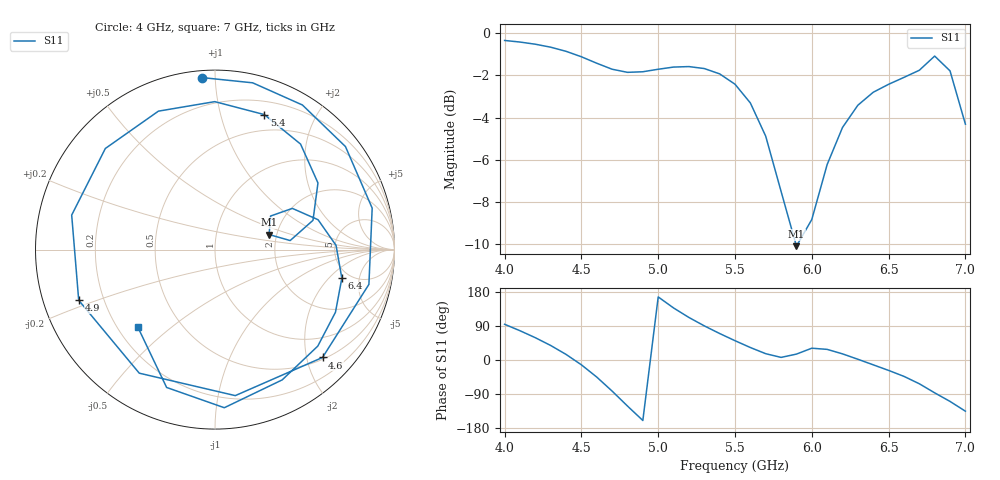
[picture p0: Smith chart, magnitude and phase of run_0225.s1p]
! Touchstone file exported from HFSS 2024.2.0
!  File:  C:/Users/wsak9/Desktop/Sim Fast/Widenad Patch/WP_AI_V1_sweep.aedt
!  Generated:  12:23:43 AM Oct 14, 2026
!  Design:  A1_model
!  Project:  WP_AI_V1_sweep
!  Setup:  Setup1
!  Solution:  Sweep
! Variables:
!  Air_gap = 2.88mm
!  Curve_Amp1 = 2.74
!  Curve_len1 = 1
!  Curve_pos = 10.05mm
!  Extra = 4.66mm
!  H_sub = 0.79mm
!  L_Patch = 16.1mm
!  L_Patch1 = 14.86mm
!  Sx = 4.8mm
!  Sy = 4.98mm
!  WS = 0.85mm
!  W_Patch = 13.72mm
!  W_Patch1 = 10.2mm
!Data is not renormalized
# GHz S MA
! Terminal data exported
! Port[1] = 1
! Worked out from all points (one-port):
!   31 points, 4 GHz to 7 GHz, reference per port
!   lowest |S11| = -10.1 dB at 5.9 GHz (marker M1), VSWR 1.91
!   |S11| at or under -10 dB: 5.8964 GHz to 5.907394 GHz (10.99 MHz wide, 0.186 % of centre)
!   S11 on the Smith chart (normalised r, x): 4 GHz: 0.04, +0.93; 4.6 GHz: 0.54, -2.30; 4.9 GHz: 0.11, -0.18; 5.4 GHz: 0.33, +1.38; 6.4 GHz: 4.26, -2.86; 7 GHz: 0.28, -0.39
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4  0.9609 94.3
4.2  0.9415 58.8
4.3  0.9262 38.3
4.4  0.9057 14.8
4.5  0.8791 -12.7
4.6  0.8486 -45.1
4.7  0.8213 -82.1
4.8  0.8075 -121.5
4.9  0.8101 -159.6
5  0.8213 166.5
5.1  0.8311 137.3
5.2  0.8333 112.2
5.3  0.8244 90.1
5.4  0.8008 69.9
5.5  0.7568 51.0
5.6  0.6833 32.9
5.7  0.5699 16.7
5.8  0.4218 6.9
5.9  0.3128 15.6
6  0.3618 31.1
6.1  0.4884 28.0
6.3  0.675 2.0
6.4  0.7244 -12.7
6.6  0.7856 -43.2
6.7  0.8167 -62.7
6.8  0.8825 -86.6
6.9  0.814 -109.3
7  0.6087 -135.1
